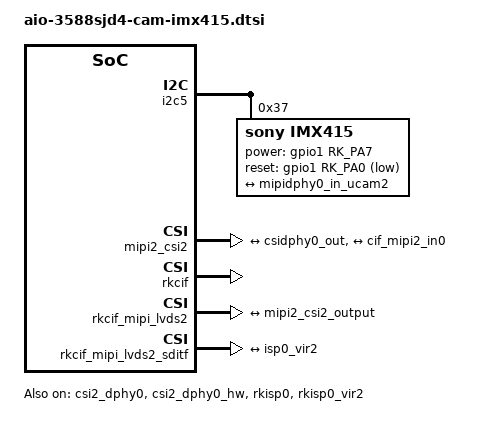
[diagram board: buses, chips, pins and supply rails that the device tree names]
// SPDX-License-Identifier: (GPL-2.0+ OR MIT)
/*
 * Copyright (c) 2021 Rockchip Electronics Co., Ltd.
 *
 */

/ {
	cam_ircut0: cam_ircut {
		status = "disabled";
		compatible = "rockchip,ircut";
		ircut-open-gpios = <&gpio4 RK_PA6 GPIO_ACTIVE_HIGH>;
		ircut-close-gpios  = <&gpio4 RK_PA7 GPIO_ACTIVE_HIGH>;
		rockchip,camera-module-index = <0>;
		rockchip,camera-module-facing = "back";
	};
	vcc_mipidphy0: vcc-mipidcphy0-regulator {
		status = "disabled";
		compatible = "regulator-fixed";
		gpio = <&gpio1 RK_PB1 GPIO_ACTIVE_HIGH>;
		pinctrl-names = "default";
		pinctrl-0 = <&mipidphy0_pwr>;
		regulator-name = "vcc_mipidphy0";
		enable-active-high;
	};
};

&i2c5 {
	status = "okay";
	pinctrl-names = "default";
	pinctrl-0 = <&i2c5m3_xfer>;

	imx415: imx415@37 {
		compatible = "sony,imx415";
		reg = <0x37>;
		clocks = <&cru CLK_MIPI_CAMARAOUT_M1>;
		clock-names = "xvclk";
		pinctrl-names = "default";
		pinctrl-0 = <&mipim1_camera1_clk>;
		power-domains = <&power RK3588_PD_VI>;

		power-gpios = <&gpio1 RK_PA7 GPIO_ACTIVE_HIGH>;
                reset-gpios = <&gpio1 RK_PA0 GPIO_ACTIVE_LOW>;

		#define FF_COMPATIBLE
                firefly,clkout-enabled-index = <0>;
		rockchip,camera-module-index = <0>;
		rockchip,camera-module-facing = "back";
		rockchip,camera-module-name = "CMK-OT2022-PX1";
		rockchip,camera-module-lens-name = "IR0147-50IRC-8M-F20";
		//lens-focus = <&cam_ircut0>;
		port {
			imx415_out0: endpoint {
				remote-endpoint = <&mipidphy0_in_ucam2>;
				data-lanes = <1 2 3 4>;
			};
		};
	};
};

&csi2_dphy0 {
	status = "okay";
#ifdef FF_COMPATIBLE
	firefly-compatible;
#endif
	ports {
		#address-cells = <1>;
		#size-cells = <0>;
		port@0 {
			reg = <0>;
			#address-cells = <1>;
			#size-cells = <0>;

			mipidphy0_in_ucam2: endpoint@3 {
				reg = <3>;
				remote-endpoint = <&imx415_out0>;
				data-lanes = <1 2 3 4>;
			};
		};
		port@1 {
			reg = <1>;
			#address-cells = <1>;
			#size-cells = <0>;

			csidphy0_out: endpoint@0 {
				reg = <0>;
				remote-endpoint = <&mipi2_csi2_input0>;
			};
		};
	};
};

&csi2_dphy0_hw {
	status = "okay";
};

&mipi2_csi2 {
	status = "okay";
#ifdef FF_COMPATIBLE
	firefly-compatible;
#endif
	ports {
		#address-cells = <1>;
		#size-cells = <0>;

		port@0 {
			reg = <0>;
			#address-cells = <1>;
			#size-cells = <0>;

			mipi2_csi2_input0: endpoint@0 {
				reg = <0>;
				remote-endpoint = <&csidphy0_out>;
			};
		};

		port@1 {
			reg = <1>;
			#address-cells = <1>;
			#size-cells = <0>;

			mipi2_csi2_output: endpoint@0 {
				reg = <0>;
				remote-endpoint = <&cif_mipi2_in0>;
			};
		};
	};
};

&pinctrl {
	cam {
		mipidphy0_pwr: mipidphy0-pwr {
			rockchip,pins =
				/* camera power en */
				<1 RK_PB1 RK_FUNC_GPIO &pcfg_pull_none>;
		};
	};
};

&rkcif {
	status = "okay";
};

&rkcif_mipi_lvds2 {
	status = "okay";

	port {
		cif_mipi2_in0: endpoint {
			remote-endpoint = <&mipi2_csi2_output>;
		};
	};
};

&rkcif_mipi_lvds2_sditf {
	status = "okay";

	port {
		mipi_lvds2_sditf: endpoint {
			remote-endpoint = <&isp0_vir2>;
		};
	};
};

&rkcif_mmu {
	status = "okay";
};

&rkisp0 {
	status = "okay";
};

&isp0_mmu {
	status = "okay";
};

&rkisp0_vir2 {
	status = "okay";

	port {
		#address-cells = <1>;
		#size-cells = <0>;

		isp0_vir2: endpoint@0 {
			reg = <0>;
			remote-endpoint = <&mipi_lvds2_sditf>;
		};
	};
};
